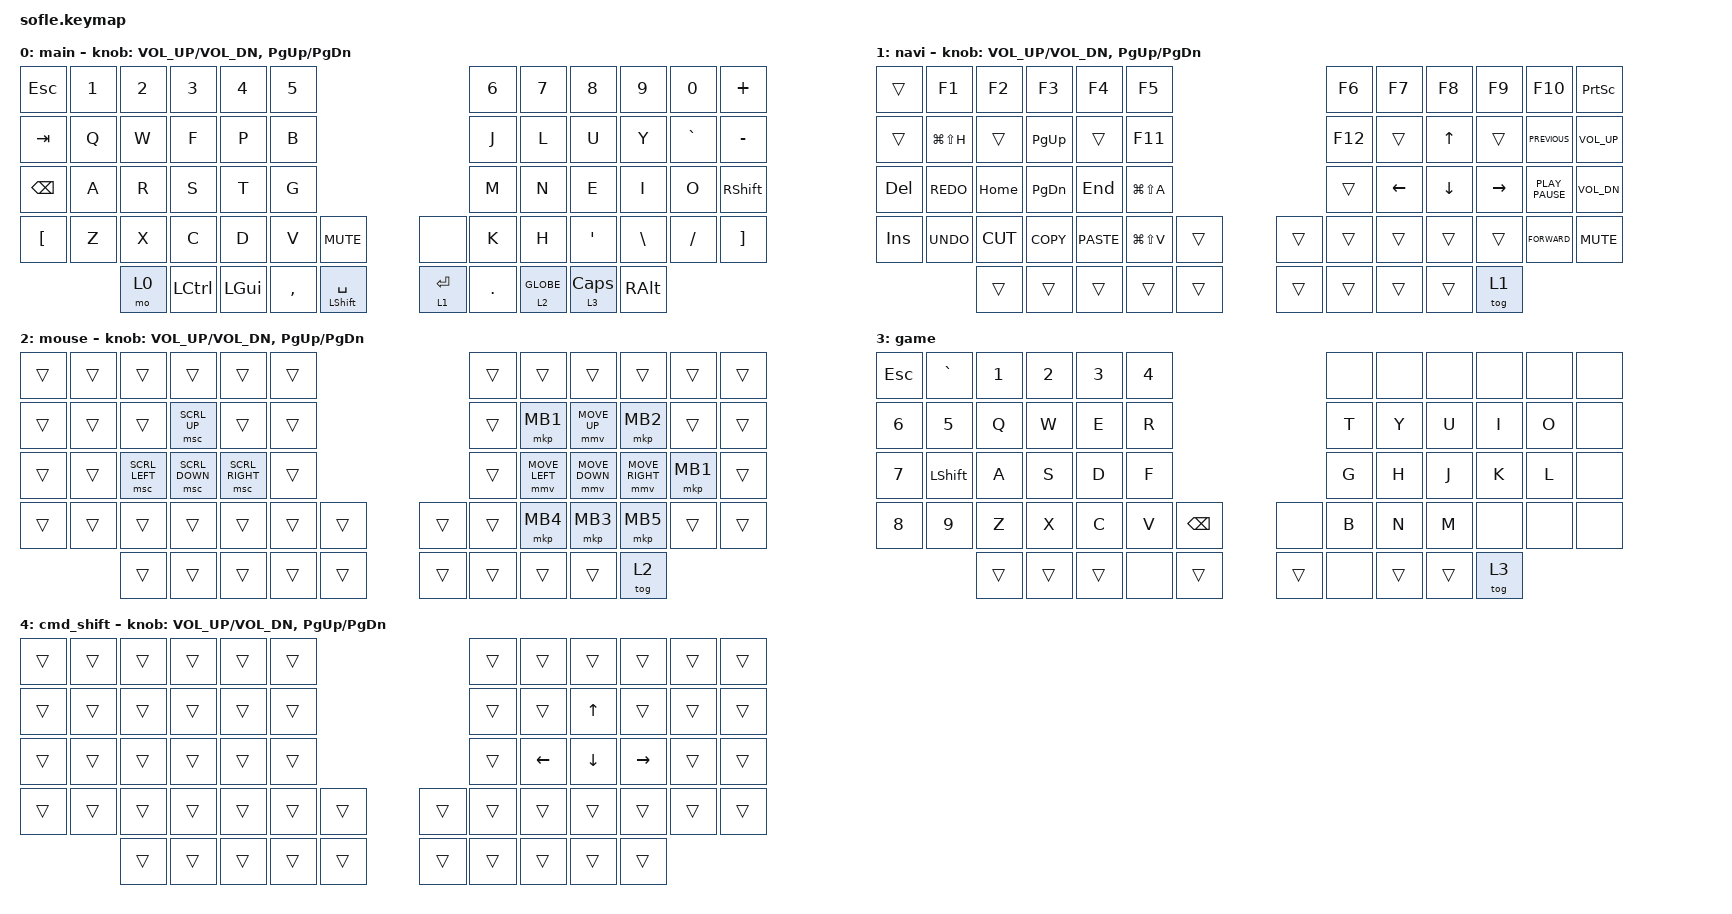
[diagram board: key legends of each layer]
/*
 * Copyright (c) 2020 The ZMK Contributors
 *
 * SPDX-License-Identifier: MIT
 */

#include <behaviors.dtsi>
#include <dt-bindings/zmk/keys.h>
#include <dt-bindings/zmk/pointing.h>

#define BASE 0
#define LOWER 1
#define RAISE 2
#define ADJUST 3

/ {
    // Activate ADJUST layer by pressing raise and lower

    conditional_layers {
        compatible = "zmk,conditional-layers";

        adjust_layer {
            if-layers = <1 2>;
            then-layer = <3>;
        };
    };

    keymap {
        compatible = "zmk,keymap";

        default_layer {
            display-name = "main";

            // ------------------------------------------------------------------------------------------------------------
            // |   `   |  1  |  2  |  3   |  4   |  5   |                   |  6   |  7    |  8    |  9   |   0   |       |
            // |  ESC  |  Q  |  W  |  E   |  R   |  T   |                   |  Y   |  U    |  I    |  O   |   P   | BKSPC |
            // |  TAB  |  A  |  S  |  D   |  F   |  G   |                   |  H   |  J    |  K    |  L   |   ;   |   '   |
            // | SHIFT |  Z  |  X  |  C   |  V   |  B   |  MUTE  |  |       |  N   |  M    |  ,    |  .   |   /   | SHIFT |
            //               | GUI | ALT  | CTRL | LOWER|  ENTER |  | SPACE | RAISE| CTRL  | ALT   | GUI  |

            bindings = <
&kp ESCAPE        &kp N1  &kp N2  &kp N3     &kp N4        &kp N5                                          &kp N6   &kp N7       &kp N8      &kp N9         &kp N0     &kp PLUS
&kp TAB           &kp Q   &kp W   &kp F      &kp P         &kp B                                           &kp J    &kp L        &kp U       &kp Y          &kp GRAVE  &kp MINUS
&kp BACKSPACE     &kp A   &kp R   &kp S      &kp T         &kp G                                           &kp M    &kp N        &kp E       &kp I          &kp O      &kp RIGHT_SHIFT
&kp LEFT_BRACKET  &kp Z   &kp X   &kp C      &kp D         &kp V      &kp C_MUTE              &none        &kp K    &kp H        &kp SQT     &kp BACKSLASH  &kp FSLH   &kp RIGHT_BRACKET
                          &mo 0   &kp LCTRL  &kp LEFT_GUI  &kp COMMA  &mt LEFT_SHIFT SPACE    &lt 1 ENTER  &kp DOT  &lt 2 GLOBE  &lt 3 CAPS  &kp RIGHT_ALT
            >;

            sensor-bindings = <&inc_dec_kp C_VOL_UP C_VOL_DN &inc_dec_kp PG_UP PG_DN>;
        };

        lower_layer {
            display-name = "navi";

            // TODO: Some binds are waiting for shifted keycode support.
            // ------------------------------------------------------------------------------------------------------------
            // |       |  F1 |  F2 |  F3  |  F4  |  F5  |                   |  F6  |  F7   |  F8   |  F9  |  F10  |  F11  |
            // |   `   |  1  |  2  |  3   |  4   |  5   |                   |  6   |  7    |  8    |  9   |   0   |  F12  |
            // |       |  !  |  @  |  #   |  $   |  %   |                   |  ^   |  &    |  *    |  (   |   )   |   |   |
            // |       |  =  |  -  |  +   |  {   |  }   |        |  |       |  [   |  ]    |  ;    |  :   |   \   |       |
            //               |     |      |      |      |        |  |       |      |       |       |      |

            bindings = <
&trans      &kp F1         &kp F2     &kp F3         &kp F4       &kp F5                           &kp F6   &kp F7          &kp F8          &kp F9     &kp F10           &kp PRINTSCREEN
&trans      &kp LG(LS(H))  &trans     &kp PAGE_UP    &trans       &kp F11                          &kp F12  &trans          &kp UP_ARROW    &trans     &kp K_PREVIOUS    &kp K_VOLUME_UP
&kp DELETE  &kp K_REDO     &kp HOME   &kp PAGE_DOWN  &kp END      &kp LG(LS(A))                    &trans   &kp LEFT_ARROW  &kp DOWN_ARROW  &kp RIGHT  &kp K_PLAY_PAUSE  &kp K_VOL_DN
&kp INS     &kp K_UNDO     &kp K_CUT  &kp K_COPY     &kp K_PASTE  &kp LG(LS(V))  &trans    &trans  &trans   &trans          &trans          &trans     &kp K_FORWARD     &kp K_MUTE
                           &trans     &trans         &trans       &trans         &trans    &trans  &trans   &trans          &trans          &tog 1
            >;

            sensor-bindings = <&inc_dec_kp C_VOL_UP C_VOL_DN &inc_dec_kp PG_UP PG_DN>;
        };

        raise_layer {
            display-name = "mouse";

            // ------------------------------------------------------------------------------------------------------------
            // | BTCLR | BT1  | BT2  |  BT3  |  BT4  |  BT5 |                |      |      |       |      |       |       |
            // |       | INS  | PSCR | GUI   |       |      |                | PGUP |      |   ^   |      |       |       |
            // |       | ALT  | CTRL | SHIFT |       | CAPS |                | PGDN |   <- |   v   |  ->  |  DEL  | BKSPC |
            // |       | UNDO | CUT  | COPY  | PASTE |      |      |  |      |      |      |       |      |       |       |
            //                |      |       |       |      |      |  |      |      |      |       |      |

            bindings = <
&trans  &trans  &trans          &trans          &trans           &trans                    &trans  &trans          &trans          &trans           &trans    &trans
&trans  &trans  &trans          &msc SCRL_UP    &trans           &trans                    &trans  &mkp MB1        &mmv MOVE_UP    &mkp MB2         &trans    &trans
&trans  &trans  &msc SCRL_LEFT  &msc SCRL_DOWN  &msc SCRL_RIGHT  &trans                    &trans  &mmv MOVE_LEFT  &mmv MOVE_DOWN  &mmv MOVE_RIGHT  &mkp MB1  &trans
&trans  &trans  &trans          &trans          &trans           &trans  &trans    &trans  &trans  &mkp MB4        &mkp MB3        &mkp MB5         &trans    &trans
                &trans          &trans          &trans           &trans  &trans    &trans  &trans  &trans          &trans          &tog 2
            >;

            sensor-bindings = <&inc_dec_kp C_VOL_UP C_VOL_DN &inc_dec_kp PG_UP PG_DN>;
        };

        adjust_layer {
            // ----------------------------------------------------------------------------------------------------------------------------
            // | BTCLR  |  BT1    |  BT2    |   BT3   |   BT4   |   BT5   |                  |      |      |       |      |       |       |
            // | EXTPWR | RGB_HUD | RGB_HUI | RGB_SAD | RGB_SAI | RGB_EFF |                  |      |      |       |      |       |       |
            // |        | RGB_BRD | RGB_BRI |         |         |         |                  |      |      |       |      |       |       |
            // |        |         |         |         |         |         | RGB_TOG | |      |      |      |       |      |       |       |
            //                    |         |         |         |         |         | |      |      |      |       |      |

            display-name = "game";
            bindings = <
&kp ESC  &kp GRAVE  &kp N1  &kp N2  &kp N3  &kp N4                      &none  &none   &none   &none   &none  &none
&kp N6   &kp N5     &kp Q   &kp W   &kp E   &kp R                       &kp T  &kp Y   &kp U   &kp I   &kp O  &none
&kp N7   &kp LSHFT  &kp A   &kp S   &kp D   &kp F                       &kp G  &kp H   &kp J   &kp K   &kp L  &none
&kp N8   &kp N9     &kp Z   &kp X   &kp C   &kp V   &kp BSPC    &none   &kp B  &kp N   &kp M   &none   &none  &none
                    &trans  &trans  &trans  &none   &trans      &trans  &none  &trans  &trans  &tog 3
            >;
        };

        layer_4 {
            display-name = "cmd_shift";
            bindings = <
&trans  &trans  &trans  &trans  &trans  &trans                    &trans  &trans          &trans          &trans     &trans  &trans
&trans  &trans  &trans  &trans  &trans  &trans                    &trans  &trans          &kp UP_ARROW    &trans     &trans  &trans
&trans  &trans  &trans  &trans  &trans  &trans                    &trans  &kp LEFT_ARROW  &kp DOWN_ARROW  &kp RIGHT  &trans  &trans
&trans  &trans  &trans  &trans  &trans  &trans  &trans    &trans  &trans  &trans          &trans          &trans     &trans  &trans
                &trans  &trans  &trans  &trans  &trans    &trans  &trans  &trans          &trans          &trans
            >;

            sensor-bindings =
                <&inc_dec_kp C_VOL_UP C_VOL_DN>,
                <&inc_dec_kp PG_UP PG_DN>;
        };
    };
};
